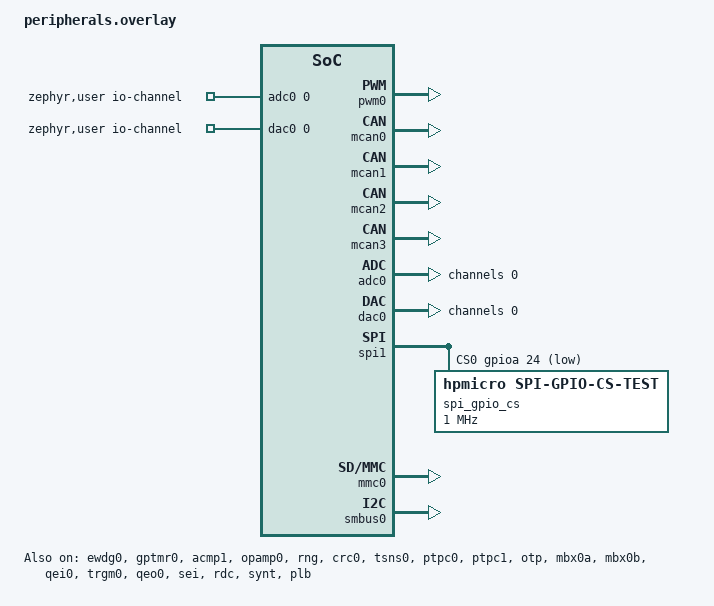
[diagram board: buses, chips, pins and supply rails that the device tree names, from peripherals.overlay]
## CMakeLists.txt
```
# Copyright (c) 2026 The HPM Zephyr Module Contributors
# SPDX-License-Identifier: Apache-2.0

cmake_minimum_required(VERSION 3.20.0)
find_package(Zephyr REQUIRED HINTS $ENV{ZEPHYR_BASE})
project(hpm5300evk_smoke)

target_sources(app PRIVATE src/main.c)
target_sources_ifdef(CONFIG_CRYPTO_HPMICRO app PRIVATE src/crypto.c)
target_sources_ifdef(CONFIG_SPI_HPMICRO app PRIVATE src/spi.c)
target_sources_ifdef(CONFIG_DMA_HPMICRO app PRIVATE src/dma.c)
target_sources_ifdef(CONFIG_UHC_HPMICRO app PRIVATE src/usb_host.c)
target_sources_ifdef(CONFIG_ENTROPY_HPMICRO_RNG app PRIVATE src/rng.c)
target_sources_ifdef(CONFIG_TSNS_HPMICRO app PRIVATE src/tsns.c)
target_sources_ifdef(CONFIG_WDT_HPMICRO app PRIVATE src/watchdog.c)
target_sources_ifdef(CONFIG_ADC_HPMICRO_ADC16 app PRIVATE src/adc.c)
target_sources_ifdef(CONFIG_UART_HPMICRO app PRIVATE src/uart.c)
```

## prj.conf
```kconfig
CONFIG_ZTEST=y
CONFIG_CONSOLE=y
CONFIG_SERIAL=y
CONFIG_UART_CONSOLE=y
CONFIG_GPIO=y
CONFIG_PINCTRL=y
CONFIG_CLOCK_CONTROL=y
CONFIG_FLASH=y
CONFIG_FLASH_MAP=y
CONFIG_I2C=y
CONFIG_SPI=y
CONFIG_XIP=n
```

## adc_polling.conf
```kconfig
CONFIG_ADC_HPMICRO_ADC16_SEQUENCE_DMA=n
```

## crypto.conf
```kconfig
CONFIG_CRYPTO=y
CONFIG_CRYPTO_HPMICRO=y
```

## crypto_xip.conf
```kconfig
CONFIG_XIP=y
CONFIG_USE_DT_CODE_PARTITION=y
```

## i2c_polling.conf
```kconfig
CONFIG_I2C_HPMICRO_DMA=n
```

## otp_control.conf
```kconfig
CONFIG_OTP_HPMICRO_ALLOW_LOCK=y
CONFIG_OTP_HPMICRO_ALLOW_REGION_CONFIG=y
```

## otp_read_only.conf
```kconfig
# SPDX-License-Identifier: Apache-2.0

CONFIG_OTP_PROGRAM=y
```

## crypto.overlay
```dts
/*
 * Copyright (c) 2026 The HPM Zephyr Module Contributors
 * SPDX-License-Identifier: Apache-2.0
 */

&sdp {
	status = "okay";
};
```

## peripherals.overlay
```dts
/*
 * Copyright (c) 2026 The HPM Zephyr Module Contributors
 * SPDX-License-Identifier: Apache-2.0
 */

#include <dt-bindings/comparator/hpmicro-acmp.h>

/ {
	aliases {
		watchdog0 = &ewdg0;
	};

	chosen {
		zephyr,crc = &crc0;
	};
};

&ewdg0 {
	status = "okay";
};

&uart0 {
	pinctrl-0 = <&pa00_uart0_txd &pa01_uart0_rxd>;
	pinctrl-1 = <&pa02_uart0_rts &pa03_uart0_cts>;
	pinctrl-2 = <&pa02_uart0_de>;
	pinctrl-names = "default", "flow_control", "rs485";
};

/ {
	aliases {
		counter0 = &gptmr0;
	};
};

&gptmr0 {
	status = "okay";
};

&pwm0 {
	status = "okay";
	pinctrl-0 = <&pa04_pwm0_p_0>;
	pinctrl-names = "default";
};

/ {
	aliases {
		can0 = &mcan0;
	};
};

&mcan0 {
	status = "okay";
	pinctrl-0 = <&pa16_mcan0_txd &pa17_mcan0_rxd>;
	pinctrl-names = "default";
};

&mcan1 {
	status = "okay";
	pinctrl-0 = <&pa20_mcan1_rxd &pa21_mcan1_txd>;
	pinctrl-names = "default";
};

&mcan2 {
	status = "okay";
	pinctrl-0 = <&pa08_mcan2_txd &pa09_mcan2_rxd>;
	pinctrl-names = "default";
};

&mcan3 {
	status = "okay";
	pinctrl-0 = <&pa14_mcan3_rxd &pa15_mcan3_txd>;
	pinctrl-names = "default";
};

/ {
	zephyr,user {
		io-channels = <&adc0 0>, <&dac0 0>;
	};
};

&adc0 {
	status = "okay";
	vref-mv = <3300>;
	#address-cells = <1>;
	#size-cells = <0>;

	channel@0 {
		reg = <0>;
		zephyr,gain = "ADC_GAIN_1";
		zephyr,reference = "ADC_REF_INTERNAL";
		zephyr,acquisition-time = <0>;
		zephyr,resolution = <12>;
	};
};

&dac0 {
	status = "okay";
	#address-cells = <1>;
	#size-cells = <0>;

	channel@0 {
		reg = <0>;
		zephyr,resolution = <12>;
	};
};

&acmp1 {
	status = "okay";
	pinctrl-0 = <&pb09_acmp_comp_1 &pb11_analog>;
	pinctrl-names = "default";
	positive-input = <HPM_ACMP_INPUT_DAC_OUT>;
	negative-input = <HPM_ACMP_INPUT_ANALOG_4>;
	dac-value = <128>;
	hysteresis = <3>;
	enable-output-pin;
};

&opamp0 {
	status = "okay";
	pinctrl-0 = <&pb00_analog &pb04_analog>;
	pinctrl-names = "default";
	functional-mode = "follower";
	positive-input = "INP0";
	negative-input = "FLOATING";
	gain = "OPAMP_GAIN_2";
	miller-capacitor = "x7";
	phase-margin-capacitor;
};

&rng {
	status = "okay";
	self-test;
};

&crc0 {
	status = "okay";
};

&tsns0 {
	status = "okay";
	averaging = <3>;
	measurement-speed = <96>;
};

&ptpc0 {
	status = "okay";
};

&ptpc1 {
	status = "okay";
};

&otp {
	status = "okay";
};

&mbx0a {
	status = "okay";
};

&mbx0b {
	status = "okay";
};

&spi1 {
	cs-gpios = <&gpioa 24 GPIO_ACTIVE_LOW>;

	spi_gpio_cs: spi-device@0 {
		compatible = "hpmicro,spi-gpio-cs-test";
		reg = <0>;
		spi-max-frequency = <1000000>;
		spi-cs-setup-delay-ns = <1000>;
		spi-cs-hold-delay-ns = <1000>;
	};
};

&hdma {
	status = "okay";
};

&qei0 {
	status = "okay";
	pinctrl-0 = <&pb12_qei0_a &pb13_qei0_b &pb14_qei0_z>;
	pinctrl-names = "default";
	mode = "abz";
	counts-per-revolution = <4096>;
	z-calibration;
};

&trgm0 {
	status = "okay";
};

/ {
	mux_consumer: mux-consumer {
		compatible = "hpmicro,mux-consumer-test";
		mux-controls = <&trgm0 32>;
		mux-states = <&trgm0 32 8>;
		status = "okay";
	};
};

&fgpioa {
	status = "okay";
};

&gpiom0 {
	status = "okay";
};

&qeo0 {
	status = "okay";
	lines = <1024>;
	max-frequency = <100000>;
	watchdog-frequency = <100000>;
	output-type = "abz";
	z-pulse-width = "75-percent";
};

&sei {
	status = "okay";
};

&mmc0 {
	status = "okay";
};

&rdc {
	status = "okay";
};

&synt {
	status = "okay";
};

&plb {
	status = "okay";
};

&smbus0 {
	status = "okay";
};
```

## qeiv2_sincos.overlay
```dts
/*
 * Copyright (c) 2026 The HPM Zephyr Module Contributors
 * SPDX-License-Identifier: Apache-2.0
 */

&adc1 {
	status = "okay";
	vref-mv = <3300>;
	#address-cells = <1>;
	#size-cells = <0>;

	channel@1 {
		reg = <1>;
		zephyr,gain = "ADC_GAIN_1";
		zephyr,reference = "ADC_REF_INTERNAL";
		zephyr,acquisition-time = <0>;
		zephyr,resolution = <12>;
	};
};
```

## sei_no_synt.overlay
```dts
/*
 * Copyright (c) 2026 The HPM Zephyr Module Contributors
 * SPDX-License-Identifier: Apache-2.0
 */

&sei {
	status = "okay";
};
```

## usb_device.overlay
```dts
/*
 * Copyright (c) 2026 The HPM Zephyr Module Contributors
 * SPDX-License-Identifier: Apache-2.0
 */

&usb0 {
	status = "okay";
};
```

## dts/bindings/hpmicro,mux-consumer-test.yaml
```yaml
# Copyright (c) 2026 The HPM Zephyr Module Contributors
# SPDX-License-Identifier: Apache-2.0

description: Test-only HPMicro TRGM mux consumer

compatible: "hpmicro,mux-consumer-test"

include: [base.yaml, mux-consumer.yaml]
```

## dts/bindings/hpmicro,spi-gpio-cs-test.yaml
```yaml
# Copyright (c) 2026 The HPM Zephyr Module Contributors
# SPDX-License-Identifier: Apache-2.0

description: Build-only HPMicro SPI GPIO chip-select consumer

compatible: "hpmicro,spi-gpio-cs-test"

include: spi-device.yaml
```

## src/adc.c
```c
/*
 * Copyright (c) 2026 The HPM Zephyr Module Contributors
 * SPDX-License-Identifier: Apache-2.0
 */

#include <zephyr/device.h>
#include <zephyr/devicetree.h>
#include <zephyr/drivers/adc.h>
#include <zephyr/ztest.h>

#include <drivers/adc/hpmicro_adc16.h>

#ifdef CONFIG_ADC_HPMICRO_ADC16_SEQUENCE_DMA
BUILD_ASSERT(IS_ENABLED(CONFIG_NOCACHE_MEMORY),
	     "ADC16 sequence DMA requires non-cacheable memory support");
BUILD_ASSERT(CONFIG_ADC_HPMICRO_ADC16_SEQUENCE_TIMEOUT_MS > 0);
#endif

#if DT_NODE_HAS_STATUS(DT_NODELABEL(adc0), okay) && defined(CONFIG_ADC_ASYNC)
ZTEST(hpm_adc, test_async_api_contract)
{
	const struct device *dev = DEVICE_DT_GET(DT_NODELABEL(adc0));
	static uint16_t sample;
	struct k_poll_signal signal;
	struct k_poll_event event;
	struct adc_sequence sequence = {
		.channels = BIT(0),
		.buffer = &sample,
		.buffer_size = sizeof(sample),
		.resolution = 12U,
	};

	k_poll_signal_init(&signal);
	k_poll_event_init(&event, K_POLL_TYPE_SIGNAL, K_POLL_MODE_NOTIFY_ONLY, &signal);
	zassert_true(device_is_ready(dev));
	zassert_ok(adc_read_async(dev, &sequence, &signal));
	zassert_ok(k_poll(&event, 1U, K_SECONDS(1)));
}
#endif

#if defined(CONFIG_ADC_HPMICRO_ADC16_EXTERNAL_TRIGGER) &&                                          \
	DT_NODE_HAS_STATUS(DT_NODELABEL(adc0), okay)
ZTEST(hpm_adc, test_external_trigger_selection)
{
	const struct device *dev = DEVICE_DT_GET(DT_NODELABEL(adc0));
	enum hpm_adc16_trigger_source source;

	zassert_true(device_is_ready(dev));
	zassert_true(DEVICE_API_IS(adc, dev));
	zassert_true(DEVICE_API_IS(hpm_adc16, dev));
	zassert_ok(hpm_adc16_get_trigger_source(dev, &source));
	zassert_equal(source, HPM_ADC16_TRIGGER_SOFTWARE);
	zassert_ok(hpm_adc16_set_trigger_source(dev, HPM_ADC16_TRIGGER_EXTERNAL));
	zassert_ok(hpm_adc16_get_trigger_source(dev, &source));
	zassert_equal(source, HPM_ADC16_TRIGGER_EXTERNAL);
	zassert_ok(hpm_adc16_set_trigger_source(dev, HPM_ADC16_TRIGGER_SOFTWARE));
	zassert_equal(hpm_adc16_set_trigger_source(dev, (enum hpm_adc16_trigger_source)2), -EINVAL);
	zassert_equal(hpm_adc16_get_trigger_source(dev, NULL), -EINVAL);
}
#endif

#if defined(CONFIG_ADC_HPMICRO_ADC16_PREEMPTION) && DT_NODE_HAS_STATUS(DT_NODELABEL(adc0), okay)
ZTEST(hpm_adc, test_preemption_api_contract)
{
	const struct device *dev = DEVICE_DT_GET(DT_NODELABEL(adc0));
	struct hpm_adc16_preemption_config config = {
		.trigger = 0U,
		.channel_count = 1U,
		.channels = {0U},
		.sample_cycle = 20U,
	};
	struct hpm_adc16_preemption_result result;

	zassert_true(device_is_ready(dev));
	zassert_true(DEVICE_API_IS(hpm_adc16, dev));
	zassert_ok(hpm_adc16_configure_preemption(dev, &config));
	zassert_ok(hpm_adc16_trigger_preemption(dev));
	zassert_ok(hpm_adc16_stop_preemption(dev));
	zassert_equal(hpm_adc16_configure_preemption(dev, &config), 0);
	zassert_ok(hpm_adc16_stop_preemption(dev));
	zassert_equal(hpm_adc16_stop_preemption(dev), -EINVAL);
	zassert_equal(hpm_adc16_read_preemption(dev, &result, 1U), -EINVAL);
	config.channel_count = HPM_ADC16_PREEMPTION_MAX_CHANNELS + 1U;
	zassert_equal(hpm_adc16_configure_preemption(dev, &config), -EINVAL);
	config.channel_count = 1U;
	config.trigger = 12U;
	zassert_equal(hpm_adc16_configure_preemption(dev, &config), -EINVAL);
	config.trigger = 0U;
	config.sample_cycle = 0x200U;
	zassert_equal(hpm_adc16_configure_preemption(dev, &config), -EINVAL);
	zassert_equal(hpm_adc16_configure_preemption(dev, NULL), -EINVAL);
}
#endif

ZTEST_SUITE(hpm_adc, NULL, NULL, NULL, NULL, NULL);
```

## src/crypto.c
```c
/*
 * Copyright (c) 2026 The HPM Zephyr Module Contributors
 * SPDX-License-Identifier: Apache-2.0
 */

#include <errno.h>
#include <string.h>

#include <zephyr/crypto/crypto.h>
#include <drivers/crypto/hpmicro_sdp.h>
#include <zephyr/device.h>
#include <zephyr/devicetree.h>
#include <zephyr/kernel.h>
#include <zephyr/sys/util.h>
#include <zephyr/ztest.h>

#define SDP_NODE DT_NODELABEL(sdp)

static const uint8_t aes128_key[] = {
	0x00, 0x01, 0x02, 0x03, 0x04, 0x05, 0x06, 0x07,
	0x08, 0x09, 0x0a, 0x0b, 0x0c, 0x0d, 0x0e, 0x0f,
};

static const uint8_t aes256_key[] = {
	0x00, 0x01, 0x02, 0x03, 0x04, 0x05, 0x06, 0x07, 0x08, 0x09, 0x0a,
	0x0b, 0x0c, 0x0d, 0x0e, 0x0f, 0x10, 0x11, 0x12, 0x13, 0x14, 0x15,
	0x16, 0x17, 0x18, 0x19, 0x1a, 0x1b, 0x1c, 0x1d, 0x1e, 0x1f,
};

static const uint8_t ecb_plaintext[] = {
	0x00, 0x11, 0x22, 0x33, 0x44, 0x55, 0x66, 0x77,
	0x88, 0x99, 0xaa, 0xbb, 0xcc, 0xdd, 0xee, 0xff,
};

static const uint8_t ecb128_ciphertext[] = {
	0x69, 0xc4, 0xe0, 0xd8, 0x6a, 0x7b, 0x04, 0x30,
	0xd8, 0xcd, 0xb7, 0x80, 0x70, 0xb4, 0xc5, 0x5a,
};

static const uint8_t ecb256_ciphertext[] = {
	0x8e, 0xa2, 0xb7, 0xca, 0x51, 0x67, 0x45, 0xbf,
	0xea, 0xfc, 0x49, 0x90, 0x4b, 0x49, 0x60, 0x89,
};

static const uint8_t cbc_key[] = {
	0x2b, 0x7e, 0x15, 0x16, 0x28, 0xae, 0xd2, 0xa6,
	0xab, 0xf7, 0x15, 0x88, 0x09, 0xcf, 0x4f, 0x3c,
};

static const uint8_t cbc_iv[] = {
	0x00, 0x01, 0x02, 0x03, 0x04, 0x05, 0x06, 0x07,
	0x08, 0x09, 0x0a, 0x0b, 0x0c, 0x0d, 0x0e, 0x0f,
};

static const uint8_t cbc_plaintext[] = {
	0x6b, 0xc1, 0xbe, 0xe2, 0x2e, 0x40, 0x9f, 0x96,
	0xe9, 0x3d, 0x7e, 0x11, 0x73, 0x93, 0x17, 0x2a,
};

static const uint8_t cbc_ciphertext[] = {
	0x76, 0x49, 0xab, 0xac, 0x81, 0x19, 0xb2, 0x46,
	0xce, 0xe9, 0x8e, 0x9b, 0x12, 0xe9, 0x19, 0x7d,
};

static const uint8_t ctr_iv[] = {
	0xf0, 0xf1, 0xf2, 0xf3, 0xf4, 0xf5, 0xf6, 0xf7, 0xf8, 0xf9, 0xfa, 0xfb,
};

static const uint8_t ctr_plaintext[] = {
	0x6b, 0xc1, 0xbe, 0xe2, 0x2e, 0x40, 0x9f, 0x96, 0xe9, 0x3d, 0x7e, 0x11, 0x73,
	0x93, 0x17, 0x2a, 0xae, 0x2d, 0x8a, 0x57, 0x1e, 0x03, 0xac, 0x9c, 0x9e, 0xb7,
	0x6f, 0xac, 0x45, 0xaf, 0x8e, 0x51, 0x30, 0xc8, 0x1c, 0x46, 0xa3, 0x5c, 0xe4,
	0x11, 0xe5, 0xfb, 0xc1, 0x19, 0x1a, 0x0a, 0x52, 0xef, 0xf6, 0x9f, 0x24, 0x45,
	0xdf, 0x4f, 0x9b, 0x17, 0xad, 0x2b, 0x41, 0x7b, 0xe6, 0x6c, 0x37, 0x10,
};

static const uint8_t ctr_ciphertext[] = {
	0x22, 0xe5, 0x2f, 0xb1, 0x77, 0xd8, 0x65, 0xb2, 0xf7, 0xc6, 0xb5, 0x12, 0x69,
	0x2d, 0x11, 0x4d, 0xed, 0x6c, 0x1c, 0x72, 0x25, 0xda, 0xf6, 0xa2, 0xaa, 0xd9,
	0xd3, 0xda, 0x2d, 0xba, 0x21, 0x68, 0x35, 0xc0, 0xaf, 0x6b, 0x6f, 0x40, 0xc3,
	0xc6, 0xef, 0xc5, 0x85, 0xd0, 0x90, 0x2c, 0xc2, 0x63, 0x12, 0x2b, 0xc5, 0x8e,
	0x72, 0xde, 0x5c, 0xa2, 0xa3, 0x5c, 0x85, 0x3a, 0xb9, 0x2c, 0x06, 0xbb,
};

static const uint8_t sha256_abc[] = {
	0xba, 0x78, 0x16, 0xbf, 0x8f, 0x01, 0xcf, 0xea, 0x41, 0x41, 0x40,
	0xde, 0x5d, 0xae, 0x22, 0x23, 0xb0, 0x03, 0x61, 0xa3, 0x96, 0x17,
	0x7a, 0x9c, 0xb4, 0x10, 0xff, 0x61, 0xf2, 0x00, 0x15, 0xad,
};

static int aes_ecb_run(const uint8_t *key, size_t key_len, const uint8_t *expected)
{
	const struct device *dev = DEVICE_DT_GET(SDP_NODE);
	uint8_t input[sizeof(ecb_plaintext)];
	uint8_t output[sizeof(ecb_plaintext)];
	struct cipher_ctx ctx = {
		.keylen = key_len,
		.key.bit_stream = key,
		.flags = CAP_RAW_KEY | CAP_SYNC_OPS | CAP_SEPARATE_IO_BUFS,
	};
	struct cipher_pkt pkt = {
		.in_buf = input,
		.in_len = sizeof(input),
		.out_buf = output,
		.out_buf_max = sizeof(output),
	};
	int ret;

	memcpy(input, ecb_plaintext, sizeof(input));
	ret = cipher_begin_session(dev, &ctx, CRYPTO_CIPHER_ALGO_AES, CRYPTO_CIPHER_MODE_ECB,
				   CRYPTO_CIPHER_OP_ENCRYPT);
	if (ret != 0) {
		return ret;
	}

	ret = cipher_block_op(&ctx, &pkt);
	(void)cipher_free_session(dev, &ctx);
	if (ret != 0) {
		return ret;
	}

	zassert_equal(pkt.out_len, sizeof(ecb_plaintext));
	return memcmp(output, expected, sizeof(ecb_plaintext));
}

static int aes_cbc_run(void)
{
	const struct device *dev = DEVICE_DT_GET(SDP_NODE);
	uint8_t iv[sizeof(cbc_iv)];
	uint8_t ciphertext[sizeof(cbc_iv) + sizeof(cbc_ciphertext)];
	uint8_t plaintext[sizeof(cbc_plaintext)];
	struct cipher_ctx ctx = {
		.keylen = sizeof(cbc_key),
		.key.bit_stream = cbc_key,
		.flags = CAP_RAW_KEY | CAP_SYNC_OPS | CAP_SEPARATE_IO_BUFS,
	};
	struct cipher_pkt pkt = {
		.in_buf = (uint8_t *)cbc_plaintext,
		.in_len = sizeof(cbc_plaintext),
		.out_buf = ciphertext,
		.out_buf_max = sizeof(ciphertext),
	};
	int ret;

	memcpy(iv, cbc_iv, sizeof(iv));
	ret = cipher_begin_session(dev, &ctx, CRYPTO_CIPHER_ALGO_AES, CRYPTO_CIPHER_MODE_CBC,
				   CRYPTO_CIPHER_OP_ENCRYPT);
	if (ret != 0) {
		return ret;
	}

	ret = cipher_cbc_op(&ctx, &pkt, iv);
	(void)cipher_free_session(dev, &ctx);
	if (ret != 0) {
		return ret;
	}

	zassert_equal(pkt.out_len, sizeof(ciphertext));
	zassert_mem_equal(ciphertext, cbc_iv, sizeof(cbc_iv));
	zassert_mem_equal(ciphertext + sizeof(cbc_iv), cbc_ciphertext, sizeof(cbc_ciphertext));

	ctx.keylen = sizeof(cbc_key);
	ctx.key.bit_stream = cbc_key;
	ctx.flags = CAP_RAW_KEY | CAP_SYNC_OPS | CAP_SEPARATE_IO_BUFS;
	pkt.in_buf = ciphertext;
	pkt.in_len = sizeof(ciphertext);
	pkt.out_buf = plaintext;
	pkt.out_buf_max = sizeof(plaintext);

	memcpy(iv, cbc_iv, sizeof(iv));
	ret = cipher_begin_session(dev, &ctx, CRYPTO_CIPHER_ALGO_AES, CRYPTO_CIPHER_MODE_CBC,
				   CRYPTO_CIPHER_OP_DECRYPT);
	if (ret != 0) {
		return ret;
	}

	ret = cipher_cbc_op(&ctx, &pkt, iv);
	(void)cipher_free_session(dev, &ctx);
	if (ret != 0) {
		return ret;
	}

	zassert_equal(pkt.out_len, sizeof(plaintext));
	return memcmp(plaintext, cbc_plaintext, sizeof(plaintext));
}

static int aes_ctr_run(void)
{
	const struct device *dev = DEVICE_DT_GET(SDP_NODE);
	uint8_t iv[sizeof(ctr_iv)];
	uint8_t output[sizeof(ctr_plaintext)];
	struct cipher_ctx ctx = {
		.keylen = sizeof(cbc_key),
		.key.bit_stream = cbc_key,
		.flags = CAP_RAW_KEY | CAP_SYNC_OPS | CAP_SEPARATE_IO_BUFS,
		.mode_params.ctr_info.ctr_len = 32U,
	};
	struct cipher_pkt pkt = {
		.in_buf = (uint8_t *)ctr_plaintext,
		.in_len = sizeof(ctr_plaintext),
		.out_buf = output,
		.out_buf_max = sizeof(output),
	};
	int ret;

	memcpy(iv, ctr_iv, sizeof(iv));
	ret = cipher_begin_session(dev, &ctx, CRYPTO_CIPHER_ALGO_AES, CRYPTO_CIPHER_MODE_CTR,
				   CRYPTO_CIPHER_OP_ENCRYPT);
	if (ret != 0) {
		return ret;
	}

	ret = cipher_ctr_op(&ctx, &pkt, iv);
	(void)cipher_free_session(dev, &ctx);
	if (ret != 0) {
		return ret;
	}

	zassert_equal(pkt.out_len, sizeof(output));
	return memcmp(output, ctr_ciphertext, sizeof(output));
}

static int aes_ccm_run(void)
{
	const struct device *dev = DEVICE_DT_GET(SDP_NODE);
	static const uint8_t key[] = {
		0xc0, 0xc1, 0xc2, 0xc3, 0xc4, 0xc5, 0xc6, 0xc7,
		0xc8, 0xc9, 0xca, 0xcb, 0xcc, 0xcd, 0xce, 0xcf,
	};
	static const uint8_t nonce[] = {0x00, 0x00, 0x00, 0x03, 0x02, 0x01, 0x00,
					0xa0, 0xa1, 0xa2, 0xa3, 0xa4, 0xa5};
	static const uint8_t aad[] = {0x00, 0x01, 0x02, 0x03, 0x04, 0x05, 0x06, 0x07};
	static const uint8_t plaintext[] = {
		0x08, 0x09, 0x0a, 0x0b, 0x0c, 0x0d, 0x0e, 0x0f, 0x10, 0x11, 0x12, 0x13,
		0x14, 0x15, 0x16, 0x17, 0x18, 0x19, 0x1a, 0x1b, 0x1c, 0x1d, 0x1e,
	};
	static const uint8_t ciphertext[] = {
		0x58, 0x8c, 0x97, 0x9a, 0x61, 0xc6, 0x63, 0xd2, 0xf0, 0x66, 0xd0,
		0xc2, 0xc0, 0xf9, 0x89, 0x80, 0x6d, 0x5f, 0x6b, 0x61, 0xda, 0xc3,
		0x84, 0x17, 0xe8, 0xd1, 0x2c, 0xfd, 0xf9, 0x26, 0xe0,
	};
	uint8_t output[sizeof(plaintext)];
	uint8_t tag[8];
	uint8_t decrypted[sizeof(plaintext)];
	uint8_t nonce_copy[sizeof(nonce)];
	struct cipher_ctx ctx = {
		.keylen = sizeof(key),
		.key.bit_stream = key,
		.mode_params.ccm_info =
			{
				.nonce_len = sizeof(nonce),
				.tag_len = sizeof(tag),
			},
		.flags = CAP_RAW_KEY | CAP_SYNC_OPS | CAP_SEPARATE_IO_BUFS,
	};
	struct cipher_pkt pkt = {
		.in_buf = (uint8_t *)plaintext,
		.in_len = sizeof(plaintext),
		.out_buf = output,
		.out_buf_max = sizeof(output),
	};
	struct cipher_aead_pkt aead = {
		.pkt = &pkt,
		.ad = (uint8_t *)aad,
		.ad_len = sizeof(aad),
		.tag = tag,
	};
	int ret;

	memcpy(nonce_copy, nonce, sizeof(nonce_copy));
	ret = cipher_begin_session(dev, &ctx, CRYPTO_CIPHER_ALGO_AES, CRYPTO_CIPHER_MODE_CCM,
				   CRYPTO_CIPHER_OP_ENCRYPT);
	if (ret != 0) {
		return ret;
	}

	ret = cipher_ccm_op(&ctx, &aead, nonce_copy);
	(void)cipher_free_session(dev, &ctx);
	if (ret != 0) {
		return ret;
	}

	zassert_mem_equal(output, ciphertext, sizeof(output));
	zassert_mem_equal(tag, ciphertext + sizeof(output), sizeof(tag));

	ctx.key.bit_stream = key;
	ctx.flags = CAP_RAW_KEY | CAP_SYNC_OPS | CAP_SEPARATE_IO_BUFS;
	pkt.in_buf = output;
	pkt.out_buf = decrypted;
	pkt.out_buf_max = sizeof(decrypted);
	aead.tag = tag;
	memcpy(nonce_copy, nonce, sizeof(nonce_copy));
	ret = cipher_begin_session(dev, &ctx, CRYPTO_CIPHER_ALGO_AES, CRYPTO_CIPHER_MODE_CCM,
				   CRYPTO_CIPHER_OP_DECRYPT);
	if (ret != 0) {
		return ret;
	}

	ret = cipher_ccm_op(&ctx, &aead, nonce_copy);
	(void)cipher_free_session(dev, &ctx);
	if (ret != 0) {
		return ret;
	}

	return memcmp(decrypted, plaintext, sizeof(decrypted));
}

static int hpm_sdp_hashes_run(void)
{
	const struct device *dev = DEVICE_DT_GET(SDP_NODE);
	static const uint8_t message[] = "abc";
	static const uint8_t sha1_abc[] = {
		0xa9, 0x99, 0x3e, 0x36, 0x47, 0x06, 0x81, 0x6a, 0xba, 0x3e,
		0x25, 0x71, 0x78, 0x50, 0xc2, 0x6c, 0x9c, 0xd0, 0xd8, 0x9d,
	};
	static const uint8_t crc32_abc[] = {0xff, 0x7c, 0x12, 0x7d};
	static const uint8_t sm3_abc[] = {
		0x66, 0xc7, 0xf0, 0xf4, 0x62, 0xee, 0xed, 0xd9, 0xd1, 0xf2, 0xd4,
		0x6b, 0xdc, 0x10, 0xe4, 0xe2, 0x41, 0x67, 0xc4, 0x87, 0x5c, 0xf2,
		0xf7, 0xa2, 0x29, 0x7d, 0xa0, 0x2b, 0x8f, 0x4b, 0xa8, 0xe0,
	};
	uint8_t digest[32];

	zassert_ok(hpm_sdp_hash_compute(dev, HPM_SDP_HASH_SHA1, message, sizeof(message) - 1U,
					digest, sizeof(sha1_abc)));
	zassert_mem_equal(digest, sha1_abc, sizeof(sha1_abc));

	zassert_ok(hpm_sdp_hash_compute(dev, HPM_SDP_HASH_CRC32, message, sizeof(message) - 1U,
					digest, sizeof(crc32_abc)));
	zassert_mem_equal(digest, crc32_abc, sizeof(crc32_abc));

	zassert_ok(hpm_sdp_hash_compute(dev, HPM_SDP_HASH_SM3, message, sizeof(message) - 1U,
					digest, sizeof(sm3_abc)));
	zassert_mem_equal(digest, sm3_abc, sizeof(sm3_abc));

	zassert_equal(hpm_sdp_hash_compute(dev, HPM_SDP_HASH_SHA1, message, sizeof(message) - 1U,
					   digest, sizeof(digest)),
		      -EINVAL);
	zassert_equal(
		hpm_sdp_hash_compute(dev, HPM_SDP_HASH_SHA256, NULL, 0U, digest, sizeof(digest)),
		-EINVAL);

	return 0;
}

static int sm4_run(void)
{
	const struct device *dev = DEVICE_DT_GET(SDP_NODE);
	static const uint8_t key[] = {
		0x01, 0x23, 0x45, 0x67, 0x89, 0xab, 0xcd, 0xef,
		0xfe, 0xdc, 0xba, 0x98, 0x76, 0x54, 0x32, 0x10,
	};
	static const uint8_t plaintext[] = {
		0x01, 0x23, 0x45, 0x67, 0x89, 0xab, 0xcd, 0xef,
		0xfe, 0xdc, 0xba, 0x98, 0x76, 0x54, 0x32, 0x10,
	};
	static const uint8_t ecb_ciphertext[] = {
		0x68, 0x1e, 0xdf, 0x34, 0xd2, 0x06, 0x96, 0x5e,
		0x86, 0xb3, 0xe9, 0x4f, 0x53, 0x6e, 0x42, 0x46,
	};
	static const uint8_t cbc_iv[] = {
		0x00, 0x11, 0x22, 0x33, 0x44, 0x55, 0x66, 0x77,
		0x88, 0x99, 0xaa, 0xbb, 0xcc, 0xdd, 0xee, 0xff,
	};
	static const uint8_t cbc_ciphertext[] = {
		0x5d, 0x1f, 0xee, 0x63, 0xf5, 0xeb, 0x8b, 0xb5,
		0x03, 0x58, 0x0a, 0xb8, 0x23, 0x92, 0x5d, 0x55,
	};
	uint8_t output[sizeof(plaintext)];
	uint8_t decrypted[sizeof(plaintext)];

	zassert_ok(hpm_sdp_sm4_crypt(dev, HPM_SDP_CIPHER_ENCRYPT, HPM_SDP_SM4_ECB, key, NULL,
				     plaintext, sizeof(plaintext), output));
	zassert_mem_equal(output, ecb_ciphertext, sizeof(output));
	zassert_ok(hpm_sdp_sm4_crypt(dev, HPM_SDP_CIPHER_DECRYPT, HPM_SDP_SM4_ECB, key, NULL,
				     output, sizeof(output), decrypted));
	zassert_mem_equal(decrypted, plaintext, sizeof(decrypted));

	zassert_ok(hpm_sdp_sm4_crypt(dev, HPM_SDP_CIPHER_ENCRYPT, HPM_SDP_SM4_CBC, key, cbc_iv,
				     plaintext, sizeof(plaintext), output));
	zassert_mem_equal(output, cbc_ciphertext, sizeof(output));
	zassert_ok(hpm_sdp_sm4_crypt(dev, HPM_SDP_CIPHER_DECRYPT, HPM_SDP_SM4_CBC, key, cbc_iv,
				     output, sizeof(output), decrypted));
	zassert_mem_equal(decrypted, plaintext, sizeof(decrypted));

	zassert_equal(hpm_sdp_sm4_crypt(dev, HPM_SDP_CIPHER_ENCRYPT, HPM_SDP_SM4_CBC, key, NULL,
					plaintext, sizeof(plaintext), output),
		      -EINVAL);
	zassert_equal(hpm_sdp_sm4_crypt(dev, HPM_SDP_CIPHER_ENCRYPT, HPM_SDP_SM4_ECB, key, NULL,
					plaintext, sizeof(plaintext) - 1U, output),
		      -EINVAL);

	return 0;
}

static int sha256_run(void)
{
	const struct device *dev = DEVICE_DT_GET(SDP_NODE);
	static const uint8_t message[] = "abc";
	uint8_t digest[sizeof(sha256_abc)];
	struct hash_ctx ctx = {
		.flags = CAP_SYNC_OPS | CAP_SEPARATE_IO_BUFS,
	};
	struct hash_pkt pkt = {
		.in_buf = message,
		.in_len = sizeof(message) - 1U,
		.out_buf = digest,
	};
	int ret;

	ret = hash_begin_session(dev, &ctx, CRYPTO_HASH_ALGO_SHA256);
	if (ret != 0) {
		return ret;
	}

	/* Reusing the session exercises reinitialization between digests. */
	for (size_t i = 0U; i < 2U; i++) {
		memset(digest, 0, sizeof(digest));
		pkt.in_buf = message;
		pkt.in_len = sizeof(message) - 1U;
		pkt.out_buf = digest;
		ret = hash_compute(&ctx, &pkt);
		if (ret != 0) {
			break;
		}
		zassert_mem_equal(digest, sha256_abc, sizeof(digest));
	}

	/* Multipart updates must produce the same digest. */
	if (ret == 0) {
		pkt.in_buf = message;
		pkt.in_len = 1U;
		pkt.out_buf = NULL;
		ret = hash_update(&ctx, &pkt);
	}
	if (ret == 0) {
		pkt.in_buf = message + 1U;
		pkt.in_len = sizeof(message) - 2U;
		ret = hash_update(&ctx, &pkt);
	}
	if (ret == 0) {
		memset(digest, 0, sizeof(digest));
		pkt.in_buf = NULL;
		pkt.in_len = 0U;
		pkt.out_buf = digest;
		ret = hash_compute(&ctx, &pkt);
	}
	if (ret == 0) {
		zassert_mem_equal(digest, sha256_abc, sizeof(digest));
	}

	(void)hash_free_session(dev, &ctx);
	return ret;
}

ZTEST(hpm5300evk, test_sdp_crypto_ready)
{
	const struct device *dev = DEVICE_DT_GET(SDP_NODE);
	int caps;

	zassert_true(device_is_ready(dev));
	caps = crypto_query_hwcaps(dev);
	zassert_true((caps & CAP_RAW_KEY) != 0);
	zassert_true((caps & CAP_SEPARATE_IO_BUFS) != 0);
	zassert_true((caps & CAP_SYNC_OPS) != 0);
}

ZTEST(hpm5300evk, test_sdp_aes_kat)
{
	zassert_ok(aes_ecb_run(aes128_key, sizeof(aes128_key), ecb128_ciphertext));
	zassert_ok(aes_ecb_run(aes256_key, sizeof(aes256_key), ecb256_ciphertext));
	zassert_ok(aes_cbc_run());
	zassert_ok(aes_ctr_run());
}

ZTEST(hpm5300evk, test_sdp_sha256_kat)
{
	zassert_ok(sha256_run());
}

ZTEST(hpm5300evk, test_sdp_ccm_kat)
{
	zassert_ok(aes_ccm_run());
}

ZTEST(hpm5300evk, test_sdp_extended_hash_kat)
{
	zassert_ok(hpm_sdp_hashes_run());
}

ZTEST(hpm5300evk, test_sdp_sm4_kat)
{
	zassert_ok(sm4_run());
}
```

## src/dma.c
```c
/*
 * Copyright (c) 2026 The HPM Zephyr Module Contributors
 * SPDX-License-Identifier: Apache-2.0
 */

#include <zephyr/drivers/dma.h>
#include <zephyr/ztest.h>

#if DT_NODE_HAS_STATUS(DT_NODELABEL(hdma), okay)
ZTEST(hpm_dma, test_linked_transfer_configuration)
{
	static uint8_t src[64] __aligned(4);
	static uint8_t dst[64] __aligned(4);
	struct dma_block_config blocks[2] = {
		{
			.source_address = (uint32_t)src,
			.dest_address = (uint32_t)dst,
			.block_size = 16U,
			.source_addr_adj = DMA_ADDR_ADJ_INCREMENT,
			.dest_addr_adj = DMA_ADDR_ADJ_INCREMENT,
			.next_block = &blocks[1],
		},
		{
			.source_address = (uint32_t)src + 16U,
			.dest_address = (uint32_t)dst + 16U,
			.block_size = 16U,
			.source_addr_adj = DMA_ADDR_ADJ_INCREMENT,
			.dest_addr_adj = DMA_ADDR_ADJ_INCREMENT,
		},
	};
	struct dma_config config = {
		.channel_direction = MEMORY_TO_MEMORY,
		.source_data_size = 1U,
		.dest_data_size = 1U,
		.head_block = &blocks[0],
		.block_count = ARRAY_SIZE(blocks),
	};
	uint32_t max_blocks;
	int channel;

	zassert_true(device_is_ready(DEVICE_DT_GET(DT_NODELABEL(hdma))));
	zassert_ok(dma_get_attribute(DEVICE_DT_GET(DT_NODELABEL(hdma)), DMA_ATTR_MAX_BLOCK_COUNT,
				     &max_blocks));
	zassert_equal(max_blocks, CONFIG_DMA_HPMICRO_MAX_BLOCKS);
	channel = dma_request_channel(DEVICE_DT_GET(DT_NODELABEL(hdma)), NULL);
	zassert_true(channel >= 0);
	zassert_ok(dma_config(DEVICE_DT_GET(DT_NODELABEL(hdma)), (uint32_t)channel, &config));
	dma_release_channel(DEVICE_DT_GET(DT_NODELABEL(hdma)), (uint32_t)channel);
}
#endif

ZTEST_SUITE(hpm_dma, NULL, NULL, NULL, NULL, NULL);
```

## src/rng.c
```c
/*
 * Copyright (c) 2026 The HPM Zephyr Module Contributors
 * SPDX-License-Identifier: Apache-2.0
 */

#include <zephyr/device.h>
#include <zephyr/devicetree.h>
#include <zephyr/drivers/entropy.h>
#include <zephyr/ztest.h>

#if DT_NODE_HAS_STATUS(DT_NODELABEL(rng), okay)
ZTEST(hpm_rng, test_isr_api)
{
	const struct device *dev = DEVICE_DT_GET(DT_NODELABEL(rng));
	uint8_t entropy[4];

	zassert_true(DEVICE_API_IS(entropy, dev));
	zassert_true(entropy_get_entropy_isr(dev, entropy, sizeof(entropy), 0U) >= 0);
}
#endif

ZTEST_SUITE(hpm_rng, NULL, NULL, NULL, NULL, NULL);
```

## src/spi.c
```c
/*
 * Copyright (c) 2026 The HPM Zephyr Module Contributors
 * SPDX-License-Identifier: Apache-2.0
 */

#include <zephyr/drivers/spi.h>
#include <zephyr/ztest.h>

#if DT_HAS_HPMICRO_SPI_GPIO_CS_TEST_ENABLED
static void spi_async_callback(const struct device *dev, int result, void *user_data)
{
	ARG_UNUSED(dev);
	ARG_UNUSED(result);
	ARG_UNUSED(user_data);
}

ZTEST(hpm_spi, test_gpio_cs_configuration)
{
	const struct spi_dt_spec spec = SPI_DT_SPEC_GET(DT_NODELABEL(spi_gpio_cs),
							SPI_OP_MODE_CONTROLLER | SPI_WORD_SET(8));

	zassert_true(spi_cs_is_gpio_dt(&spec));
	zassert_true(spi_is_ready_dt(&spec));
}

ZTEST(hpm_spi, test_rejects_unsupported_word_size)
{
	const struct spi_dt_spec spec =
		SPI_DT_SPEC_GET(DT_NODELABEL(spi_gpio_cs),
				SPI_OP_MODE_CONTROLLER | SPI_WORD_SET(4));
	const uint8_t tx_data[2] = {0x5a, 0xa5};
	const struct spi_buf tx_buf = {
		.buf = (void *)tx_data,
		.len = sizeof(tx_data),
	};
	const struct spi_buf_set tx_bufs = {.buffers = &tx_buf, .count = 1};

	zassert_equal(spi_write_dt(&spec, &tx_bufs), -ENOTSUP);
}

ZTEST(hpm_spi, test_half_duplex_api)
{
	const struct spi_dt_spec spec =
		SPI_DT_SPEC_GET(DT_NODELABEL(spi_gpio_cs),
				SPI_OP_MODE_CONTROLLER | SPI_WORD_SET(8) | SPI_HALF_DUPLEX);
	const uint8_t tx_data[2] = {0x5a, 0xa5};
	const struct spi_buf tx_buf = {
		.buf = (void *)tx_data,
		.len = sizeof(tx_data),
	};
	const struct spi_buf_set tx_bufs = {.buffers = &tx_buf, .count = 1};

	zassert_equal(spi_write_dt(&spec, &tx_bufs), 0);
}

#ifdef CONFIG_SPI_ASYNC
ZTEST(hpm_spi, test_async_submit)
{
	const struct spi_dt_spec spec = SPI_DT_SPEC_GET(DT_NODELABEL(spi_gpio_cs),
							SPI_OP_MODE_CONTROLLER | SPI_WORD_SET(8));
	static const uint8_t tx_data[2] = {0x5a, 0xa5};
	const struct spi_buf tx_buf = {
		.buf = (void *)tx_data,
		.len = sizeof(tx_data),
	};
	const struct spi_buf_set tx_bufs = {.buffers = &tx_buf, .count = 1};

	zassert_ok(spi_write_cb_dt(&spec, &tx_bufs, spi_async_callback, NULL));
}

#ifdef CONFIG_SPI_HPMICRO_DMA
ZTEST(hpm_spi, test_async_dma_rejects_mismatched_buffers)
{
	const struct spi_dt_spec spec = SPI_DT_SPEC_GET(DT_NODELABEL(spi_gpio_cs),
							SPI_OP_MODE_CONTROLLER | SPI_WORD_SET(8));
	static const uint8_t tx_data[4] = {0x5a, 0xa5, 0x3c, 0xc3};
	static uint8_t rx_data[3];
	const struct spi_buf tx_buf = {
		.buf = (void *)tx_data,
		.len = sizeof(tx_data),
	};
	const struct spi_buf rx_buf = {.buf = rx_data, .len = sizeof(rx_data)};
	const struct spi_buf_set tx_bufs = {.buffers = &tx_buf, .count = 1};
	const struct spi_buf_set rx_bufs = {.buffers = &rx_buf, .count = 1};

	zassert_equal(spi_transceive_cb_dt(&spec, &tx_bufs, &rx_bufs, spi_async_callback, NULL),
		      -EINVAL);
}

ZTEST(hpm_spi, test_async_dma_multiblock_submit)
{
	const struct spi_dt_spec spec = SPI_DT_SPEC_GET(DT_NODELABEL(spi_gpio_cs),
							SPI_OP_MODE_CONTROLLER | SPI_WORD_SET(8));
	static const uint8_t tx_first[3] = {0x5a, 0xa5, 0x3c};
	static const uint8_t tx_second[2] = {0xc3, 0x99};
	const struct spi_buf tx_bufs_data[] = {
		{.buf = (void *)tx_first, .len = sizeof(tx_first)},
		{.buf = (void *)tx_second, .len = sizeof(tx_second)},
	};
	const struct spi_buf_set tx_bufs = {.buffers = tx_bufs_data,
					    .count = ARRAY_SIZE(tx_bufs_data)};

	zassert_ok(spi_write_cb_dt(&spec, &tx_bufs, spi_async_callback, NULL));
}
#endif
#endif
#endif

#ifdef CONFIG_SPI_EXTENDED_MODES
ZTEST(hpm_spi, test_quad_write_api)
{
	const struct spi_dt_spec spec = SPI_DT_SPEC_GET(DT_NODELABEL(spi_gpio_cs),
							SPI_OP_MODE_CONTROLLER | SPI_WORD_SET(8) |
								SPI_LINES_QUAD | SPI_HALF_DUPLEX);
	static const uint8_t tx_data[4] = {0x5a, 0xa5, 0x3c, 0xc3};
	const struct spi_buf tx_buf = {
		.buf = (void *)tx_data,
		.len = sizeof(tx_data),
	};
	const struct spi_buf_set tx_bufs = {.buffers = &tx_buf, .count = 1};

	zassert_equal(spi_write_dt(&spec, &tx_bufs), 0);
}

ZTEST(hpm_spi, test_dual_read_api)
{
	const struct spi_dt_spec spec = SPI_DT_SPEC_GET(DT_NODELABEL(spi_gpio_cs),
							SPI_OP_MODE_CONTROLLER | SPI_WORD_SET(8) |
								SPI_LINES_DUAL | SPI_HALF_DUPLEX);
	uint8_t rx_data[4];
	const struct spi_buf rx_buf = {.buf = rx_data, .len = sizeof(rx_data)};
	const struct spi_buf_set rx_bufs = {.buffers = &rx_buf, .count = 1};

	zassert_equal(spi_read_dt(&spec, &rx_bufs), 0);
}
#endif

ZTEST_SUITE(hpm_spi, NULL, NULL, NULL, NULL, NULL);
```

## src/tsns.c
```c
/*
 * Copyright (c) 2026 The HPM Zephyr Module Contributors
 * SPDX-License-Identifier: Apache-2.0
 */

#include <zephyr/device.h>
#include <zephyr/devicetree.h>
#include <zephyr/drivers/sensor.h>
#include <zephyr/ztest.h>

#if DT_NODE_HAS_STATUS(DT_NODELABEL(tsns0), okay)
static void tsns_trigger_handler(const struct device *dev, const struct sensor_trigger *trigger)
{
	ARG_UNUSED(dev);
	ARG_UNUSED(trigger);
}

static struct sensor_trigger tsns_trigger = {
	.type = SENSOR_TRIG_THRESHOLD,
	.chan = SENSOR_CHAN_DIE_TEMP,
};

ZTEST(hpm_tsns, test_threshold_api)
{
	const struct device *dev = DEVICE_DT_GET(DT_NODELABEL(tsns0));
	struct sensor_value lower = {.val1 = 20, .val2 = 500000};
	struct sensor_value upper = {.val1 = 80, .val2 = 0};
	struct sensor_value value;

	zassert_ok(sensor_attr_set(dev, SENSOR_CHAN_DIE_TEMP, SENSOR_ATTR_LOWER_THRESH, &lower));
	zassert_ok(sensor_attr_set(dev, SENSOR_CHAN_DIE_TEMP, SENSOR_ATTR_UPPER_THRESH, &upper));
	zassert_ok(sensor_attr_get(dev, SENSOR_CHAN_DIE_TEMP, SENSOR_ATTR_LOWER_THRESH, &value));
	zassert_equal(value.val1, lower.val1);
	zassert_equal(value.val2, lower.val2);
	zassert_ok(sensor_trigger_set(dev, &tsns_trigger, tsns_trigger_handler));
	zassert_ok(sensor_trigger_set(dev, &tsns_trigger, NULL));
}
#endif

ZTEST_SUITE(hpm_tsns, NULL, NULL, NULL, NULL, NULL);
```

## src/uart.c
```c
/*
 * Copyright (c) 2026 The HPM Zephyr Module Contributors
 * SPDX-License-Identifier: Apache-2.0
 */

#include <errno.h>

#include <zephyr/device.h>
#include <zephyr/devicetree.h>
#include <zephyr/drivers/uart.h>
#include <zephyr/ztest.h>

#include <drivers/serial/hpmicro_uart.h>

#if DT_NODE_HAS_STATUS(DT_NODELABEL(uart0), okay)
ZTEST(hpm_uart, test_runtime_configuration_api)
{
	const struct device *dev = DEVICE_DT_GET(DT_NODELABEL(uart0));
	struct uart_config current;
	struct uart_config requested = {
		.baudrate = 115200U,
		.parity = UART_CFG_PARITY_NONE,
		.stop_bits = UART_CFG_STOP_BITS_1,
		.data_bits = UART_CFG_DATA_BITS_8,
		.flow_ctrl = UART_CFG_FLOW_CTRL_NONE,
	};

	zassert_ok(uart_configure(dev, &requested));
	zassert_ok(uart_config_get(dev, &current));
	zassert_equal(current.baudrate, requested.baudrate);
	zassert_equal(current.parity, requested.parity);
	zassert_equal(current.stop_bits, requested.stop_bits);
	zassert_equal(current.data_bits, requested.data_bits);

	requested.flow_ctrl = UART_CFG_FLOW_CTRL_RTS_CTS;
	zassert_ok(uart_configure(dev, &requested));
	zassert_ok(uart_config_get(dev, &current));
	zassert_equal(current.flow_ctrl, UART_CFG_FLOW_CTRL_RTS_CTS);

	requested.flow_ctrl = UART_CFG_FLOW_CTRL_RS485;
	zassert_ok(uart_configure(dev, &requested));
	zassert_ok(uart_config_get(dev, &current));
	zassert_equal(current.flow_ctrl, UART_CFG_FLOW_CTRL_RS485);

	requested.flow_ctrl = UART_CFG_FLOW_CTRL_DTR_DSR;
	zassert_equal(uart_configure(dev, &requested), -ENOTSUP);
}

ZTEST(hpm_uart, test_address_match_extension_validation)
{
	const struct device *dev = DEVICE_DT_GET(DT_NODELABEL(uart0));
	const struct hpm_uart_address_match_config invalid_8bit = {
		.enable = true,
		.address0 = 0x80U,
		.address0_enable = true,
	};
	const struct hpm_uart_address_match_config invalid_9bit = {
		.address0 = 0x40U,
		.address0_enable = true,
		.nine_bit = true,
	};
	bool matched;

	zassert_true(DEVICE_API_IS(hpm_uart, dev));
	zassert_equal(hpm_uart_configure_address_match(dev, NULL), -EINVAL);
	zassert_equal(hpm_uart_configure_address_match(dev, &invalid_8bit), -EINVAL);
	zassert_equal(hpm_uart_configure_address_match(dev, &invalid_9bit), -EINVAL);
	zassert_equal(hpm_uart_get_address_match(dev, NULL), -EINVAL);
	zassert_equal(hpm_uart_get_address_match_idle(dev, NULL), -EINVAL);
	zassert_ok(hpm_uart_get_address_match(dev, &matched));
	zassert_ok(hpm_uart_get_address_match_idle(dev, &matched));
}
#endif

#if defined(CONFIG_UART_ASYNC_API) && DT_NODE_HAS_STATUS(DT_NODELABEL(uart0), okay)
ZTEST(hpm_uart, test_async_operations_reject_invalid_arguments)
{
	const struct device *dev = DEVICE_DT_GET(DT_NODELABEL(uart0));
	static uint8_t buffer[8];

	zassert_ok(uart_callback_set(dev, NULL, NULL));
	zassert_equal(uart_tx(dev, NULL, sizeof(buffer), SYS_FOREVER_US), -EINVAL);
	zassert_equal(uart_rx_enable(dev, NULL, sizeof(buffer), SYS_FOREVER_US), -EINVAL);
	zassert_equal(uart_tx_abort(dev), -EFAULT);
	zassert_equal(uart_rx_disable(dev), -EFAULT);
}
#endif

ZTEST_SUITE(hpm_uart, NULL, NULL, NULL, NULL, NULL);
```

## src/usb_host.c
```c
/*
 * Copyright (c) 2026 The HPM Zephyr Module Contributors
 * SPDX-License-Identifier: Apache-2.0
 */

#include <zephyr/device.h>
#include <zephyr/drivers/usb/uhc.h>
#include <zephyr/usb/usbh.h>
#include <zephyr/ztest.h>

USBH_CONTROLLER_DEFINE(hpm_usbh_ctx, DEVICE_DT_GET(DT_NODELABEL(usb0)));

ZTEST(hpm_usb_host, test_controller_init)
{
	zassert_true(device_is_ready(hpm_usbh_ctx.dev));
	zassert_ok(usbh_init(&hpm_usbh_ctx));
	zassert_ok(usbh_enable(&hpm_usbh_ctx));
	zassert_true(uhc_is_enabled(hpm_usbh_ctx.dev));
	zassert_ok(usbh_disable(&hpm_usbh_ctx));
	zassert_ok(usbh_shutdown(&hpm_usbh_ctx));
}

ZTEST_SUITE(hpm_usb_host, NULL, NULL, NULL, NULL, NULL);
```

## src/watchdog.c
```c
/*
 * Copyright (c) 2026 The HPM Zephyr Module Contributors
 * SPDX-License-Identifier: Apache-2.0
 */

#include <errno.h>

#include <zephyr/device.h>
#include <zephyr/drivers/watchdog.h>
#include <zephyr/ztest.h>

#if DT_NODE_HAS_STATUS(DT_NODELABEL(ewdg0), okay)
ZTEST(hpm_watchdog, test_window_timeout_validation)
{
	const struct device *dev = DEVICE_DT_GET(DT_NODELABEL(ewdg0));
	struct wdt_timeout_cfg timeout = {
		.window.min = 1000U,
		.window.max = 1000U,
		.flags = WDT_FLAG_RESET_SOC,
	};

	zassert_true(device_is_ready(dev));
	zassert_equal(wdt_install_timeout(dev, &timeout), -EINVAL);

	timeout.window.min = 750U;
	zassert_ok(wdt_install_timeout(dev, &timeout));
}
#endif

ZTEST_SUITE(hpm_watchdog, NULL, NULL, NULL, NULL, NULL);
```
